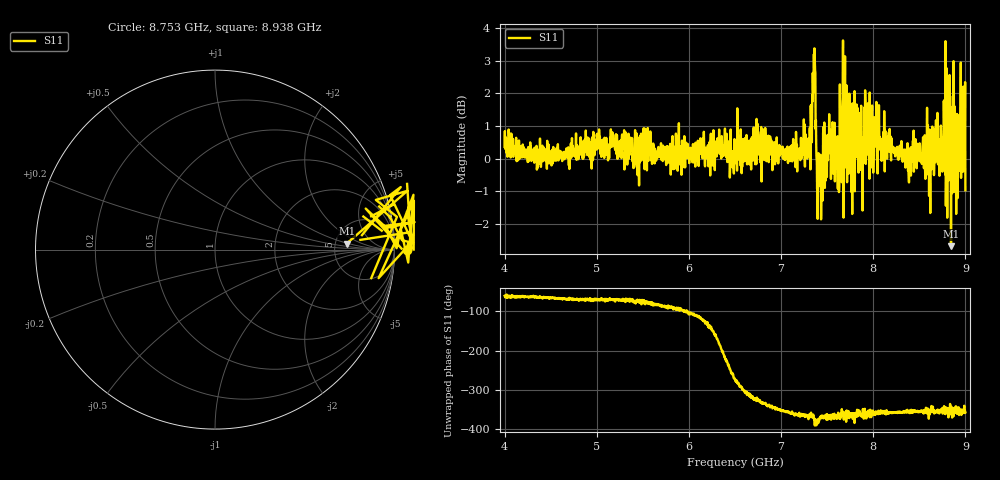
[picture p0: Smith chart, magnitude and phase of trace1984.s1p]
! Created with skrf 1.8.0 (http://scikit-rf.org).
# Hz S RI R 50.0
!freq ReS11 ImS11
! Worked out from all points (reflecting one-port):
!   1601 points, 4 GHz to 9 GHz, reference 50 ohm
!   lowest |S11| = -2.7 dB at 8.844 GHz (marker M1), VSWR 6.53, Z = 320 + j46.3 ohm
!   phase of S11 starts at -60 deg and turns -297 deg over the sweep
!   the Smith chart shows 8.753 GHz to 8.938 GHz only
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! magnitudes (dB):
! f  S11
! 4 GHz  0.4
! 4.625 GHz  -0.1
! 5.25 GHz  0.1
! 5.875 GHz  0.3
! 6.5 GHz  0.0
! 6.759 GHz  0.1
! 7.125 GHz  0.3
! 7.294 GHz  0.1
! 7.347 GHz  2.1
! 7.369 GHz  2.7
! 7.4 GHz  -0.7
! 7.412 GHz  -0.5
! 7.512 GHz  0.7
! 7.609 GHz  0.2
! 7.672 GHz  3.6
! 7.75 GHz  0.7
! 7.844 GHz  1.0
! 7.875 GHz  0.1
! 7.928 GHz  0.1
! 8.038 GHz  0.8
! 8.375 GHz  0.1
! 8.438 GHz  0.9
! 8.612 GHz  0.9
! 8.809 GHz  0.9
! 8.844 GHz  -2.7
! 8.919 GHz  -0.3
! 8.972 GHz  1.1
! 9 GHz  -1.0
